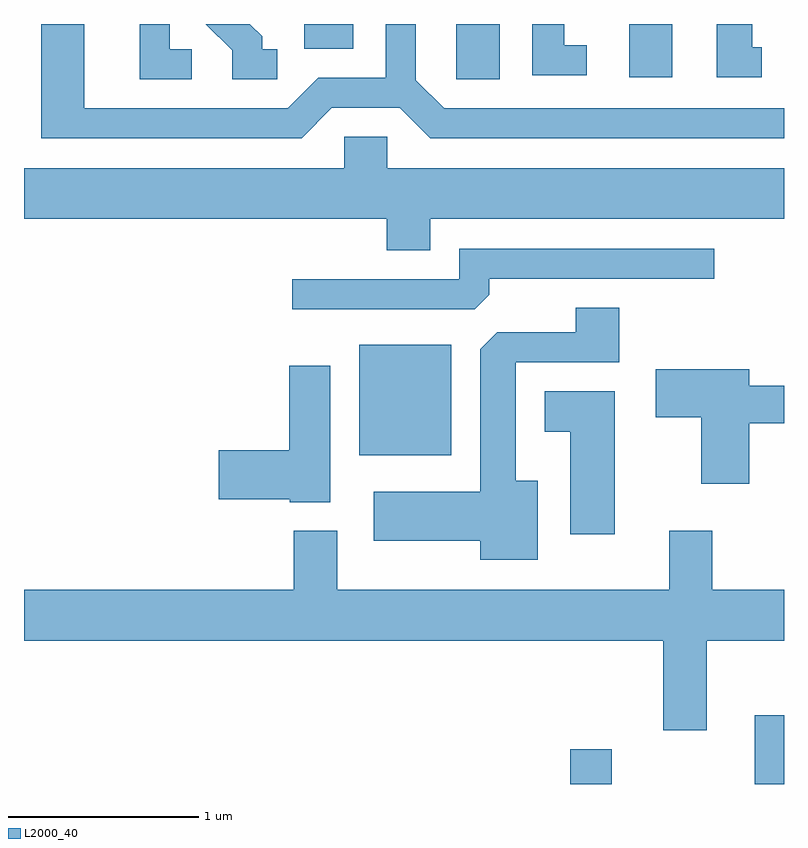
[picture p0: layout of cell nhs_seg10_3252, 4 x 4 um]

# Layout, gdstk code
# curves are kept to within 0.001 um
import gdstk
lib = gdstk.Library(unit=1e-6, precision=1e-09)
def R(c, l, rs):  # rectangles x0, y0, x1, y1
    for r in rs: c.add(gdstk.rectangle(r[:2], r[2:], *l))
def P(c, l, *ps):  # polygons
    for p in ps: c.add(gdstk.Polygon(p, *l))
L2000_40 = (2000, 40)

nhs_seg10_3252 = lib.new_cell('nhs_seg10_3252')
R(nhs_seg10_3252, L2000_40, [(284.486,2086.522,284.704,2086.704), (285.456,2086.522,285.611,2086.883), (283.376,2088.251,283.859,2088.834), (283.886,2090.231,284.114,2090.522), (284.796,2090.241,285.024,2090.522), (283.086,2090.391,283.344,2090.522)])
P(nhs_seg10_3252, L2000_40, [(285.493,2090.399),(285.444,2090.399),(285.444,2090.522),(285.256,2090.522),(285.256,2090.241),(285.493,2090.241)],
  [(283.232,2090.081),(283.589,2090.081),(283.749,2089.921),(285.611,2089.921),(285.611,2090.079),(283.822,2090.079),(283.674,2090.227),(283.674,2090.522),(283.516,2090.522),(283.516,2090.239),(283.159,2090.239),(282.999,2090.079),(281.929,2090.079),(281.929,2090.522),(281.701,2090.522),(281.701,2089.921),(283.072,2089.921)],
  [(282.493,2090.389),(282.379,2090.389),(282.379,2090.522),(282.221,2090.522),(282.221,2090.231),(282.493,2090.231)],
  [(282.943,2090.389),(282.864,2090.389),(282.864,2090.457),(282.799,2090.522),(282.568,2090.522),(282.706,2090.384),(282.706,2090.231),(282.943,2090.231)],
  [(284.573,2090.409),(284.454,2090.409),(284.454,2090.522),(284.286,2090.522),(284.286,2090.251),(284.573,2090.251)],
  [(283.749,2089.496),(285.611,2089.496),(285.611,2089.764),(283.524,2089.764),(283.524,2089.929),(283.296,2089.929),(283.296,2089.764),(281.611,2089.764),(281.611,2089.496),(283.521,2089.496),(283.521,2089.331),(283.749,2089.331)],
  [(284.013,2089.05),(284.059,2089.097),(284.059,2089.181),(285.243,2089.181),(285.243,2089.339),(283.901,2089.339),(283.901,2089.179),(283.023,2089.179),(283.023,2089.021),(283.984,2089.021)],
  [(284.314,2088.119),(284.199,2088.119),(284.199,2088.741),(284.744,2088.741),(284.744,2089.029),(284.516,2089.029),(284.516,2088.899),(284.102,2088.899),(284.011,2088.809),(284.011,2088.059),(283.451,2088.059),(283.451,2087.801),(284.011,2087.801),(284.011,2087.701),(284.314,2087.701)],
  [(283.224,2088.724),(283.006,2088.724),(283.006,2088.279),(282.636,2088.279),(282.636,2088.021),(283.01,2088.021),(283.01,2088.006),(283.224,2088.006)],
  [(285.429,2088.421),(285.611,2088.421),(285.611,2088.619),(285.429,2088.619),(285.429,2088.704),(284.936,2088.704),(284.936,2088.451),(285.176,2088.451),(285.176,2088.101),(285.429,2088.101)],
  [(284.719,2088.589),(284.351,2088.589),(284.351,2088.376),(284.486,2088.376),(284.486,2087.836),(284.719,2087.836)],
  [(285.204,2087.276),(285.611,2087.276),(285.611,2087.544),(285.234,2087.544),(285.234,2087.854),(285.006,2087.854),(285.006,2087.544),(283.259,2087.544),(283.259,2087.854),(283.031,2087.854),(283.031,2087.544),(281.611,2087.544),(281.611,2087.276),(284.976,2087.276),(284.976,2086.806),(285.204,2086.806)])

lib.write_gds('nhs_seg10_3252.gds')
